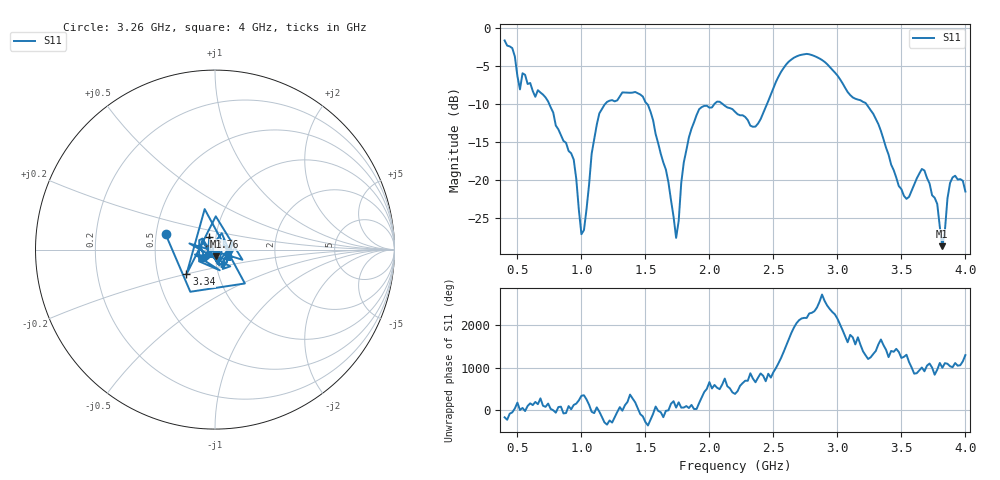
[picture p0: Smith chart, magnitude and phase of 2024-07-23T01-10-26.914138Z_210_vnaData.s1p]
!Created with skrf (http://scikit-rf.org).
# Hz S RI R 50.0
!freq ReS11 ImS11
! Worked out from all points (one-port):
!   181 points, 400 MHz to 4 GHz, reference 50 ohm
!   lowest |S11| = -28.7 dB at 3.82 GHz (marker M1), VSWR 1.08, Z = 50.3 - j3.67 ohm
!   |S11| at or under -10 dB: 748.3 MHz to 1.186 GHz (438.1 MHz wide, 45.3 % of centre); 1.513 GHz to 2.04 GHz (526.9 MHz wide, 29.7 % of centre); 3.225 GHz to end of sweep (the widest 3 of 4)
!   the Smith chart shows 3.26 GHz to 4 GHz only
!   S11 on the Smith chart (normalised r, x): 3.26 GHz: 0.56, +0.10; 3.34 GHz: 0.70, -0.20; 3.76 GHz: 0.93, +0.13; 4 GHz: 0.87, -0.08
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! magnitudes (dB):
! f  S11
! 400 MHz  -1.7
! 460 MHz  -2.7
! 520 MHz  -8.1
! 540 MHz  -6.0
! 720 MHz  -9.2
! 860 MHz  -14.9
! 940 MHz  -17.3
! 1 GHz  -27.1
! 1.14 GHz  -11.3
! 1.3 GHz  -9.0
! 1.52 GHz  -10.1
! 1.66 GHz  -18.6
! 1.74 GHz  -27.6
! 1.76 GHz  -25.4
! 1.8 GHz  -17.7
! 1.92 GHz  -10.7
! 2.2 GHz  -11.0
! 2.36 GHz  -13.0
! 2.66 GHz  -3.9
! 3.1 GHz  -8.8
! 3.26 GHz  -10.8
! 3.34 GHz  -13.6
! 3.56 GHz  -22.2
! 3.66 GHz  -18.6
! 3.76 GHz  -22.3
! 3.82 GHz  -28.7
! 3.88 GHz  -20.4
! 4 GHz  -21.5
